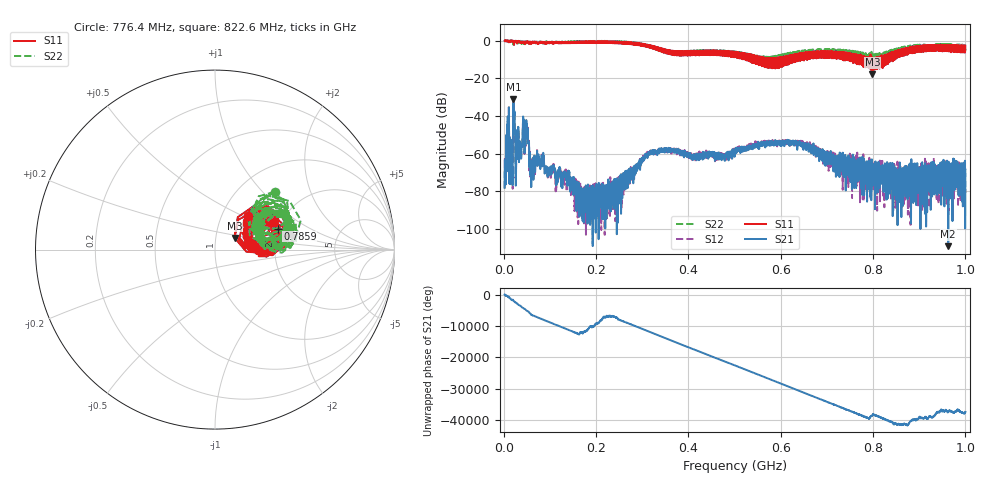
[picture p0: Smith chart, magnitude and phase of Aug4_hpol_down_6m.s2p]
!Keysight Technologies N9923A: A.12.45
!Date: Tuesday, 05 August 2025 18:02:50
!Timezone: (UTC+08:00) Kuala Lumpur, Singapore
!Model: N9923A
!Serial: MY61181427
!GPS Latitude:
!GPS Longitude:
!GPS TimeStamp: 0001-01-01 00:00:00Z
!GPS Seconds Since Last Read: 0
!CHECKSUM:1478332277
!Correction: S11(ON U)S21(ON U)S12(ON U)S22(ON U)
!S2P File: Measurements:S11,S21,S12,S22:
# Hz S DB R 50
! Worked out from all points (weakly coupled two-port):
!   4001 points, 2 MHz to 1 GHz, reference 50 ohm
!   highest |S21| = -31.10 dB at 20.96 MHz (marker M1); lowest = -109.1 dB at 962.8 MHz (marker M2)
!   lowest |S11| = -17.9 dB at 798.7 MHz (marker M3), VSWR 1.29, Z = 61.6 + j8.2 ohm
!   |S11| at or under -10 dB: 565.5682 MHz to 566.7012 MHz (1.133 MHz wide, 0.2 % of centre); 572.3072 MHz to 573.5236 MHz (1.216 MHz wide, 0.212 % of centre); 573.9422 MHz to 575.1697 MHz (1.228 MHz wide, 0.214 % of centre)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
!   |S22| runs from -13.6 to 0.1 dB; largest |S21 - S12| = 0.0012
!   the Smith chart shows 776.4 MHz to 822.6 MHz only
!   S11 on the Smith chart (normalised r, x): 776.4 MHz: 1.33, +0.53; 785.9 MHz: 1.97, +0.53; 822.6 MHz: 1.69, -0.08
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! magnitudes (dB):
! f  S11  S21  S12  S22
! 2 MHz  -0.1  -78.1  -78.4  -0.1
! 6.99 MHz  -0.1  -52.3  -52.2  -0.1
! 14.72 MHz  -0.1  -72.9  -73.6  -0.1
! 20.96 MHz  -0.9  -31.1  -31.2  -1.3
! 25.2 MHz  -0.2  -62.5  -63.0  -0.1
! 30.19 MHz  -0.3  -50.5  -50.3  -1.0
! 45.91 MHz  -1.9  -52.3  -51.9  -0.8
! 60.38 MHz  -0.8  -65.0  -66.1  -0.5
! 82.34 MHz  -0.8  -61.0  -60.6  -1.2
! 168.4 MHz  -1.3  -82.6  -85.3  -0.9
! 244.5 MHz  -0.8  -73.2  -75.3  -0.8
! 334.8 MHz  -4.4  -58.7  -58.1  -5.0
! 501 MHz  -6.6  -59.0  -59.8  -7.4
! 584.6 MHz  -14.6  -53.8  -54.6  -9.8
! 667.4 MHz  -8.8  -57.6  -56.4  -7.5
! 776.4 MHz  -11.6  -81.9  -74.9  -6.7
! 785.9 MHz  -8.7  -65.7  -72.9  -8.6
! 798.7 MHz  -17.9  -65.3  -71.1  -8.7
! 822.6 MHz  -11.8  -72.5  -67.5  -11.3
! 833.8 MHz  -9.2  -72.5  -77.2  -5.6
! 962.8 MHz  -2.3  -109.1  -79.5  -4.4
! 1 GHz  -2.7  -68.5  -78.7  -4.0
